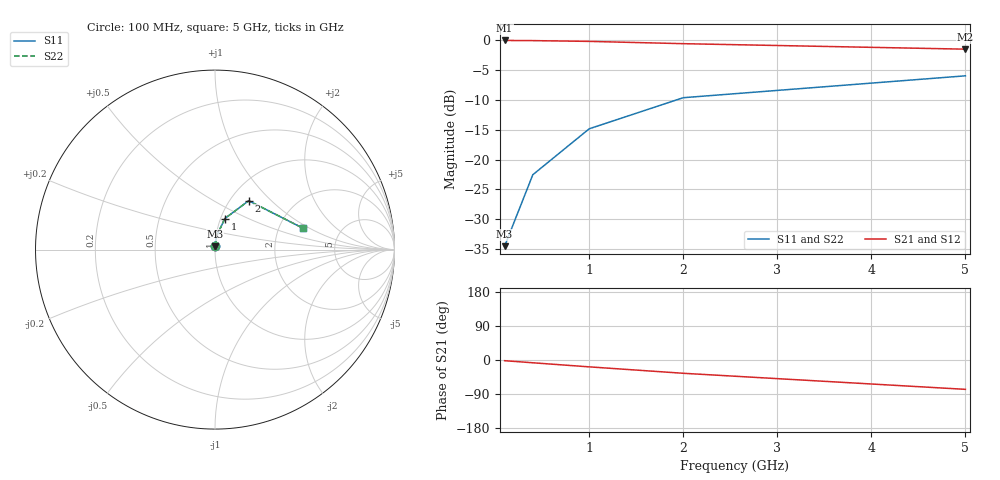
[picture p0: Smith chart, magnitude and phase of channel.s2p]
! Raw Palace field extraction; port order: U1.OUT, U2.IN
# Hz S RI R 50
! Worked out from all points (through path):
!   5 points, 100 MHz to 5 GHz, reference 50 ohm
!   highest |S21| = -0.01 dB at 100 MHz (marker M1); lowest = -1.5 dB at 5 GHz (marker M2)
!   lowest |S11| = -34.5 dB at 100 MHz (marker M3), VSWR 1.04, Z = 49.9 + j1.88 ohm
!   |S11| at or under -10 dB: start of sweep to 1.926 GHz
!   |S22| runs from -34.5 to -5.9 dB; largest |S21 - S12| = 9.7e-07
!   S11 on the Smith chart (normalised r, x): 100 MHz: 1.00, +0.04; 1 GHz: 1.05, +0.37; 2 GHz: 1.21, +0.74; 5 GHz: 2.72, +0.87
1e8  -0.000323 0.0188  0.9984 -0.032  0.9984 -0.032  -0.000323 0.0188
4e8  0.00829 0.0742  0.9877 -0.1269  0.9877 -0.1269  0.00829 0.0742
1e9  0.0547 0.1729  0.9323 -0.3051  0.9323 -0.3051  0.0547 0.1729
2e9  0.1877 0.2722  0.7684 -0.5392  0.7684 -0.5392  0.1877 0.2721
5e9  0.4902 0.1191  0.1836 -0.824  0.1836 -0.824  0.4902 0.1192
